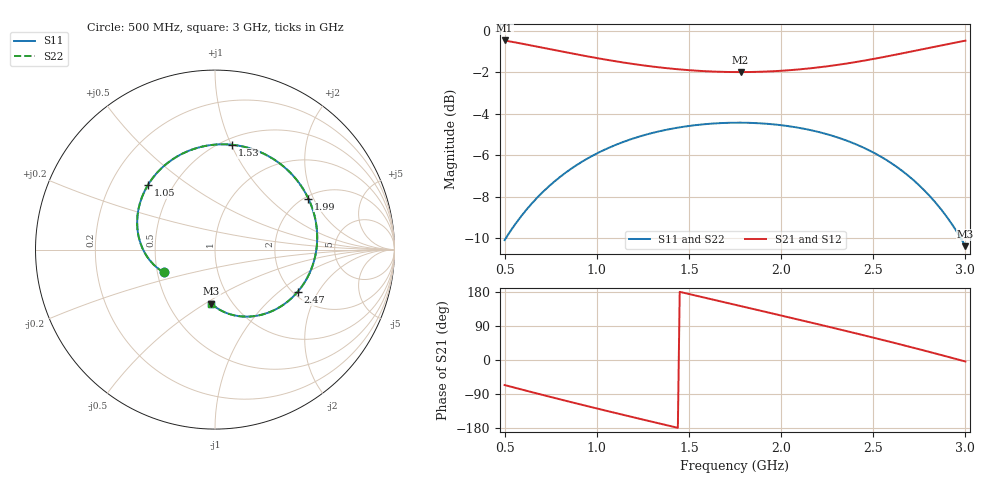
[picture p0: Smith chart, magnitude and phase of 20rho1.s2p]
!freq-unit  param-type  data-format  keyword  impedance-ohms
# GHZ  S  RI  R  50
!Freq  ReS11  ImS11  ReS21  ImS21  ReS12  ImS12  ReS22  ImS22
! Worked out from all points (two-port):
!   251 points, 500 MHz to 3 GHz, reference 50 ohm
!   highest |S21| = -0.46 dB at 500 MHz (marker M1); lowest = -2.0 dB at 1.78 GHz (marker M2)
!   |S21| within 3 dB of the highest: start of sweep to end of sweep
!   lowest |S11| = -10.4 dB at 3 GHz (marker M3), VSWR 1.87, Z = 40.2 - j26.7 ohm
!   |S11| at or under -10 dB: start of sweep to 507 MHz; 2.975 GHz to end of sweep
!   |S22| runs from -10.4 to -4.4 dB; largest |S21 - S12| = 0
!   S11 on the Smith chart (normalised r, x): 500 MHz: 0.54, -0.15; 1.05 GHz: 0.36, +0.36; 1.53 GHz: 0.56, +1.01; 1.99 GHz: 2.09, +1.83; 2.47 GHz: 2.11, -1.36; 3 GHz: 0.80, -0.53
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0.5  -0.2861 -0.1262  0.3838 -0.8669  0.3838 -0.8669  -0.2861 -0.1262
0.6  -0.355 -0.0695  0.1797 -0.9127  0.1797 -0.9127  -0.355 -0.0695
0.7  -0.4053 0.0103  -0.0222 -0.9116  -0.0222 -0.9116  -0.4053 0.0103
0.81  -0.4322 0.1159  -0.2302 -0.8616  -0.2302 -0.8616  -0.4322 0.1159
0.92  -0.4254 0.2295  -0.4137 -0.7684  -0.4137 -0.7684  -0.4254 0.2295
1.05  -0.374 0.3592  -0.5897 -0.615  -0.5897 -0.615  -0.374 0.3592
1.2  -0.2633 0.4833  -0.73 -0.3983  -0.73 -0.3983  -0.2633 0.4833
1.34  -0.1231 0.5591  -0.7972 -0.1759  -0.7972 -0.1759  -0.1231 0.5591
1.43  -0.0215 0.5827  -0.8081 -0.0301  -0.8081 -0.0301  -0.0215 0.5827
1.53  0.0954 0.5841  -0.7916 0.1291  -0.7916 0.1291  0.0954 0.5841
1.64  0.2216 0.5554  -0.7406 0.2954  -0.7406 0.2954  0.2216 0.5554
1.75  0.3375 0.4965  -0.6578 0.4471  -0.6578 0.4471  0.3375 0.4965
1.78  0.3663 0.4757  -0.6301 0.4852  -0.6301 0.4852  0.3663 0.4757
1.99  0.5206 0.2837  -0.3828 0.7031  -0.3828 0.7031  0.5206 0.2837
2.17  0.5693 0.0797  -0.1122 0.8054  -0.1122 0.8054  0.5693 0.0797
2.32  0.5432 -0.0905  0.1372 0.818  0.1372 0.818  0.5432 -0.0905
2.47  0.4597 -0.2364  0.3901 0.7558  0.3901 0.7558  0.4597 -0.2364
2.59  0.3599 -0.3208  0.5805 0.6486  0.5805 0.6486  0.3599 -0.3208
2.7  0.2527 -0.3645  0.7331 0.5054  0.7331 0.5054  0.2527 -0.3645
2.81  0.1419 -0.3718  0.8526 0.3222  0.8526 0.3222  0.1419 -0.3718
2.91  0.049 -0.3468  0.9219 0.1265  0.9219 0.1265  0.049 -0.3468
3  -0.0195 -0.3017  0.9446 -0.066  0.9446 -0.066  -0.0195 -0.3017
